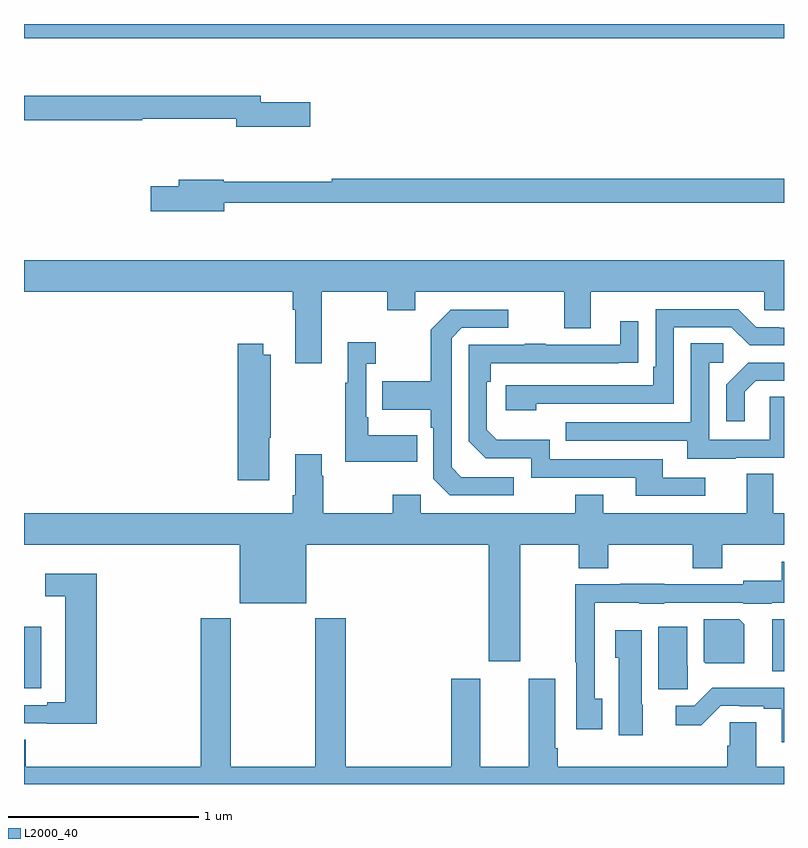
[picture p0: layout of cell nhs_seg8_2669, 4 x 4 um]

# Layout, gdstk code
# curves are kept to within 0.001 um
import gdstk
lib = gdstk.Library(unit=1e-6, precision=1e-09)
def R(c, l, rs):  # rectangles x0, y0, x1, y1
    for r in rs: c.add(gdstk.rectangle(r[:2], r[2:], *l))
def P(c, l, *ps):  # polygons
    for p in ps: c.add(gdstk.Polygon(p, *l))
L2000_40 = (2000, 40)

nhs_seg8_2669 = lib.new_cell('nhs_seg8_2669')
R(nhs_seg8_2669, L2000_40, [(279,1122.405,279.09,1122.727), (282.938,1122.494,283,1122.766), (279,1125.824,283,1125.9)])
P(nhs_seg8_2669, L2000_40, [(280.507,1125.489),(280.246,1125.489),(280.246,1125.523),(279,1125.523),(279,1125.394),(279.622,1125.394),(279.622,1125.402),(280.118,1125.402),(280.118,1125.359),(280.507,1125.359)],
  [(280.054,1124.958),(283,1124.958),(283,1125.086),(280.619,1125.086),(280.619,1125.071),(280.05,1125.071),(280.05,1125.079),(279.815,1125.079),(279.815,1125.045),(279.666,1125.045),(279.666,1124.915),(280.054,1124.915)],
  [(280.567,1124.492),(280.912,1124.492),(280.912,1124.393),(281.059,1124.393),(281.059,1124.492),(281.843,1124.492),(281.843,1124.298),(281.983,1124.298),(281.983,1124.492),(282.897,1124.492),(282.897,1124.394),(283,1124.394),(283,1124.656),(279,1124.656),(279,1124.492),(280.415,1124.492),(280.415,1124.396),(280.427,1124.396),(280.427,1124.115),(280.567,1124.115)],
  [(281.696,1123.902),(282.42,1123.902),(282.42,1124.304),(282.723,1124.304),(282.819,1124.208),(283,1124.208),(283,1124.301),(282.974,1124.301),(282.974,1124.304),(282.855,1124.304),(282.759,1124.4),(282.324,1124.4),(282.324,1124.095),(282.311,1124.095),(282.311,1123.998),(281.535,1123.998),(281.535,1123.868),(281.696,1123.868)],
  [(281.578,1123.515),(281.301,1123.515),(281.25,1123.566),(281.25,1124.247),(281.304,1124.301),(281.548,1124.301),(281.548,1124.397),(281.247,1124.397),(281.142,1124.291),(281.142,1124.019),(280.885,1124.019),(280.885,1123.871),(281.142,1123.871),(281.142,1123.775),(281.154,1123.775),(281.154,1123.506),(281.241,1123.419),(281.578,1123.419)],
  [(282.586,1123.512),(282.361,1123.512),(282.361,1123.608),(281.766,1123.608),(281.766,1123.711),(281.489,1123.711),(281.436,1123.764),(281.436,1124.018),(281.456,1124.018),(281.456,1124.115),(282.233,1124.116),(282.233,1124.335),(282.137,1124.335),(282.137,1124.211),(281.747,1124.211),(281.747,1124.216),(281.635,1124.216),(281.635,1124.211),(281.34,1124.211),(281.34,1123.704),(281.43,1123.614),(281.67,1123.614),(281.67,1123.512),(282.221,1123.512),(282.221,1123.416),(282.586,1123.416)],
  [(281.069,1123.735),(280.813,1123.735),(280.813,1123.831),(280.8,1123.831),(280.8,1124.111),(280.852,1124.111),(280.852,1124.224),(280.703,1124.224),(280.703,1124.011),(280.692,1124.011),(280.692,1123.595),(281.069,1123.595)],
  [(282.745,1123.617),(283,1123.617),(283,1123.937),(282.924,1123.937),(282.924,1123.713),(282.606,1123.713),(282.606,1124.118),(282.679,1124.118),(282.679,1124.219),(282.51,1124.219),(282.51,1123.803),(281.851,1123.803),(281.851,1123.707),(282.491,1123.707),(282.491,1123.613),(282.745,1123.613)],
  [(280.291,1123.723),(280.299,1123.723),(280.299,1124.158),(280.258,1124.158),(280.258,1124.218),(280.124,1124.218),(280.124,1123.5),(280.291,1123.5)],
  [(282.793,1123.965),(282.85,1124.022),(283,1124.022),(283,1124.118),(282.812,1124.118),(282.696,1124.002),(282.696,1123.809),(282.793,1123.809)],
  [(281.611,1123.16),(281.92,1123.16),(281.92,1123.036),(282.075,1123.036),(282.075,1123.16),(282.52,1123.16),(282.52,1123.036),(282.675,1123.036),(282.675,1123.16),(283,1123.16),(283,1123.324),(282.943,1123.324),(282.943,1123.532),(282.803,1123.532),(282.803,1123.324),(282.049,1123.324),(282.049,1123.423),(281.902,1123.423),(281.902,1123.324),(281.088,1123.324),(281.088,1123.423),(280.942,1123.423),(280.942,1123.324),(280.575,1123.324),(280.575,1123.523),(280.567,1123.523),(280.567,1123.636),(280.427,1123.636),(280.427,1123.42),(280.415,1123.42),(280.415,1123.324),(279,1123.324),(279,1123.16),(280.136,1123.16),(280.136,1122.851),(280.486,1122.851),(280.486,1123.16),(281.447,1123.16),(281.447,1122.546),(281.611,1122.546)],
  [(282.043,1122.35),(282.003,1122.35),(282.003,1122.854),(282.237,1122.854),(282.237,1122.848),(282.369,1122.848),(282.369,1122.855),(282.786,1122.855),(282.786,1122.848),(282.936,1122.848),(282.936,1122.854),(283,1122.854),(283,1123.069),(282.987,1123.069),(282.987,1122.97),(282.786,1122.97),(282.786,1122.951),(282.369,1122.951),(282.369,1122.953),(282.137,1122.953),(282.137,1122.951),(281.902,1122.951),(281.902,1122.541),(281.907,1122.541),(281.907,1122.189),(282.043,1122.189)],
  [(279.383,1123.006),(279.111,1123.006),(279.111,1122.889),(279.218,1122.889),(279.218,1122.331),(279.122,1122.331),(279.122,1122.315),(279,1122.315),(279,1122.219),(279.122,1122.219),(279.122,1122.217),(279.383,1122.217)],
  [(283,1121.992),(282.853,1121.992),(282.853,1122.224),(282.714,1122.224),(282.714,1122.102),(282.701,1122.102),(282.701,1121.992),(281.81,1121.992),(281.81,1122.088),(281.797,1122.088),(281.797,1122.454),(281.657,1122.454),(281.657,1121.992),(281.401,1121.992),(281.401,1122.454),(281.249,1122.454),(281.249,1121.992),(280.694,1121.992),(280.694,1122.772),(280.534,1122.772),(280.534,1121.992),(280.089,1121.992),(280.089,1122.772),(279.929,1122.772),(279.929,1121.992),(279.008,1121.992),(279.008,1122.134),(279,1122.134),(279,1121.9),(283,1121.9)],
  [(282.79,1122.74),(282.764,1122.766),(282.578,1122.766),(282.578,1122.544),(282.586,1122.536),(282.79,1122.536)],
  [(282.494,1122.522),(282.49,1122.522),(282.49,1122.727),(282.338,1122.727),(282.338,1122.399),(282.494,1122.399)],
  [(282.256,1122.318),(282.25,1122.318),(282.25,1122.709),(282.113,1122.709),(282.113,1122.564),(282.131,1122.564),(282.131,1122.156),(282.256,1122.156)],
  [(283,1122.407),(282.623,1122.407),(282.528,1122.312),(282.429,1122.312),(282.429,1122.21),(282.564,1122.21),(282.666,1122.312),(282.766,1122.312),(282.766,1122.309),(282.893,1122.309),(282.893,1122.297),(282.989,1122.297),(282.989,1122.12),(283,1122.12)])

lib.write_gds('nhs_seg8_2669.gds')
